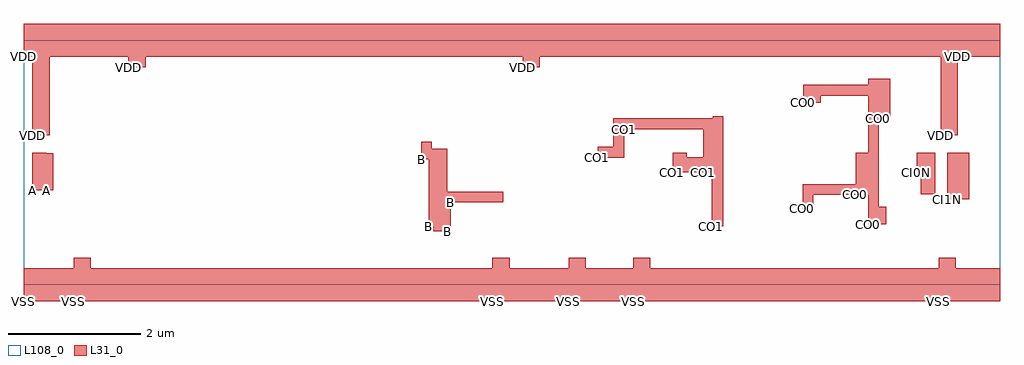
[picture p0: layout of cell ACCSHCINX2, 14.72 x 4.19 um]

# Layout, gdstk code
import gdstk
lib = gdstk.Library(unit=1e-6, precision=1e-09)
def R(c, l, rs):  # rectangles x0, y0, x1, y1
    for r in rs: c.add(gdstk.rectangle(r[:2], r[2:], *l))
L31_0 = (31, 0)
L108_0 = (108, 0)

accshcinx2 = lib.new_cell('ACCSHCINX2')
R(accshcinx2, L31_0, [(0,-0.25,0.75,0.25), (0.75,-0.25,1.01,0.405), (1.01,-0.25,7.065,0.25), (7.065,-0.25,7.325,0.405), (7.325,-0.25,8.215,0.25), (8.215,-0.25,8.475,0.405), (8.475,-0.25,9.185,0.25), (9.185,-0.25,9.445,0.405), (9.445,-0.25,13.795,0.25), (13.795,-0.25,14.055,0.405), (14.055,-0.25,14.72,0.25), (6.175,0.81,6.385,2.055), (6.385,0.81,6.435,1.405), (6.105,0.88,6.15,2.155), (6.15,0.88,6.175,2.055), (10.375,0.885,10.385,2.51), (10.385,0.885,10.545,2.54), (12.73,0.915,12.89,3.11), (12.89,0.915,13.005,1.175), (11.745,1.15,11.905,1.515), (6.435,1.245,7.225,1.405), (13.925,1.29,14.255,1.99), (11.905,1.355,12.545,1.515), (12.545,1.355,12.73,1.99), (13.525,1.365,13.745,1.99), (0.125,1.43,0.335,1.99), (0.335,1.43,0.44,1.985), (9.785,1.7,9.995,1.99), (9.995,1.7,10.245,1.925), (10.245,1.7,10.375,2.51), (13.465,1.7,13.525,1.99), (5.99,1.895,6.105,2.155), (8.65,1.92,8.89,2.08), (8.89,1.92,9.05,2.51), (0.125,2.255,0.385,3.94), (13.825,2.255,14.085,3.94), (9.05,2.35,10.245,2.51), (12.89,2.51,13.065,3.11), (11.755,2.745,12.015,3.015), (12.015,2.855,12.73,3.015), (1.575,3.285,1.835,3.94), (7.52,3.285,7.78,3.94), (0,3.44,0.125,3.94), (0.385,3.44,1.575,3.94), (1.835,3.44,7.52,3.94), (7.78,3.44,13.825,3.94), (14.085,3.44,14.72,3.94)])
R(accshcinx2, L108_0, [(0,0,14.72,3.69)])
accshcinx2.add(gdstk.Label('CO1', (8.65,1.92), layer=131, texttype=0))
accshcinx2.add(gdstk.Label('CO1', (8.89,1.92), layer=131, texttype=0))
accshcinx2.add(gdstk.Label('CO1', (9.785,1.7), layer=131, texttype=0))
accshcinx2.add(gdstk.Label('CO1', (9.05,2.35), layer=131, texttype=0))
accshcinx2.add(gdstk.Label('CO1', (9.995,1.7), layer=131, texttype=0))
accshcinx2.add(gdstk.Label('CO1', (10.245,1.7), layer=131, texttype=0))
accshcinx2.add(gdstk.Label('CO1', (10.375,0.885), layer=131, texttype=0))
accshcinx2.add(gdstk.Label('CO1', (10.385,0.885), layer=131, texttype=0))
accshcinx2.add(gdstk.Label('CO0', (11.745,1.15), layer=131, texttype=0))
accshcinx2.add(gdstk.Label('CO0', (11.755,2.745), layer=131, texttype=0))
accshcinx2.add(gdstk.Label('CO0', (11.905,1.355), layer=131, texttype=0))
accshcinx2.add(gdstk.Label('CO0', (12.015,2.855), layer=131, texttype=0))
accshcinx2.add(gdstk.Label('CO0', (12.545,1.355), layer=131, texttype=0))
accshcinx2.add(gdstk.Label('CO0', (12.73,0.915), layer=131, texttype=0))
accshcinx2.add(gdstk.Label('CO0', (12.89,0.915), layer=131, texttype=0))
accshcinx2.add(gdstk.Label('CO0', (12.89,2.51), layer=131, texttype=0))
accshcinx2.add(gdstk.Label('CI1N', (13.925,1.29), layer=131, texttype=0))
accshcinx2.add(gdstk.Label('CI0N', (13.465,1.7), layer=131, texttype=0))
accshcinx2.add(gdstk.Label('CI0N', (13.525,1.365), layer=131, texttype=0))
accshcinx2.add(gdstk.Label('B', (5.99,1.895), layer=131, texttype=0))
accshcinx2.add(gdstk.Label('B', (6.105,0.88), layer=131, texttype=0))
accshcinx2.add(gdstk.Label('B', (6.15,0.88), layer=131, texttype=0))
accshcinx2.add(gdstk.Label('B', (6.175,0.81), layer=131, texttype=0))
accshcinx2.add(gdstk.Label('B', (6.385,0.81), layer=131, texttype=0))
accshcinx2.add(gdstk.Label('B', (6.435,1.245), layer=131, texttype=0))
accshcinx2.add(gdstk.Label('A', (0.125,1.43), layer=131, texttype=0))
accshcinx2.add(gdstk.Label('A', (0.335,1.43), layer=131, texttype=0))
accshcinx2.add(gdstk.Label('VSS', (0,-0.25), layer=131, texttype=0))
accshcinx2.add(gdstk.Label('VSS', (0.75,-0.25), layer=131, texttype=0))
accshcinx2.add(gdstk.Label('VSS', (1.01,-0.25), layer=131, texttype=0))
accshcinx2.add(gdstk.Label('VSS', (7.065,-0.25), layer=131, texttype=0))
accshcinx2.add(gdstk.Label('VSS', (7.325,-0.25), layer=131, texttype=0))
accshcinx2.add(gdstk.Label('VSS', (8.215,-0.25), layer=131, texttype=0))
accshcinx2.add(gdstk.Label('VSS', (8.475,-0.25), layer=131, texttype=0))
accshcinx2.add(gdstk.Label('VSS', (9.185,-0.25), layer=131, texttype=0))
accshcinx2.add(gdstk.Label('VSS', (9.445,-0.25), layer=131, texttype=0))
accshcinx2.add(gdstk.Label('VSS', (13.795,-0.25), layer=131, texttype=0))
accshcinx2.add(gdstk.Label('VSS', (14.055,-0.25), layer=131, texttype=0))
accshcinx2.add(gdstk.Label('VDD', (0,3.44), layer=131, texttype=0))
accshcinx2.add(gdstk.Label('VDD', (0.125,2.255), layer=131, texttype=0))
accshcinx2.add(gdstk.Label('VDD', (0.385,3.44), layer=131, texttype=0))
accshcinx2.add(gdstk.Label('VDD', (1.575,3.285), layer=131, texttype=0))
accshcinx2.add(gdstk.Label('VDD', (1.835,3.44), layer=131, texttype=0))
accshcinx2.add(gdstk.Label('VDD', (7.52,3.285), layer=131, texttype=0))
accshcinx2.add(gdstk.Label('VDD', (7.78,3.44), layer=131, texttype=0))
accshcinx2.add(gdstk.Label('VDD', (13.825,2.255), layer=131, texttype=0))
accshcinx2.add(gdstk.Label('VDD', (14.085,3.44), layer=131, texttype=0))

lib.write_gds('ACCSHCINX2.gds')
